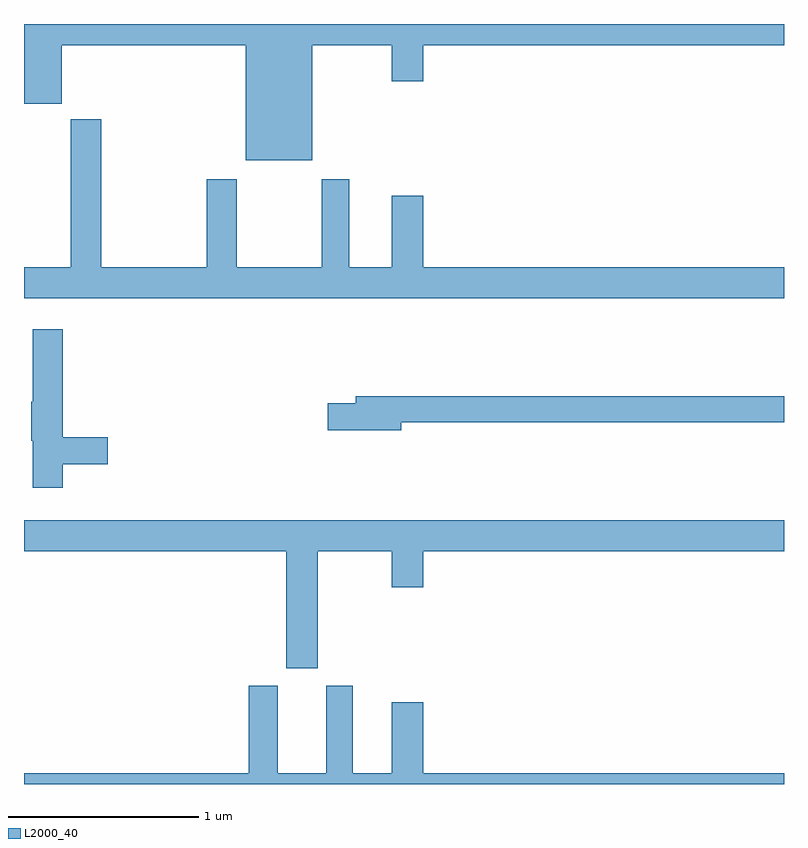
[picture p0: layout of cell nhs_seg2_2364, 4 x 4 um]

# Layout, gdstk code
import gdstk
lib = gdstk.Library(unit=1e-6, precision=1e-09)
def P(c, l, *ps):  # polygons
    for p in ps: c.add(gdstk.Polygon(p, *l))
L2000_40 = (2000, 40)

nhs_seg2_2364 = lib.new_cell('nhs_seg2_2364')
P(nhs_seg2_2364, L2000_40, [(236.518,595.688),(236.936,595.688),(236.936,595.5),(237.1,595.5),(237.1,595.688),(239,595.688),(239,595.8),(235,595.8),(235,595.379),(235.198,595.379),(235.198,595.688),(236.168,595.688),(236.168,595.082),(236.518,595.082)],
  [(239,594.52),(237.1,594.52),(237.1,594.895),(236.936,594.895),(236.936,594.52),(236.713,594.52),(236.713,594.982),(236.566,594.982),(236.566,594.52),(236.121,594.52),(236.121,594.982),(235.961,594.982),(235.961,594.52),(235.406,594.52),(235.406,595.3),(235.246,595.3),(235.246,594.52),(235,594.52),(235,594.356),(239,594.356)],
  [(235.205,593.482),(235.441,593.482),(235.441,593.624),(235.205,593.624),(235.205,594.193),(235.046,594.193),(235.046,593.813),(235.039,593.813),(235.039,593.607),(235.046,593.607),(235.046,593.358),(235.205,593.358)],
  [(236.986,593.704),(239,593.704),(239,593.84),(236.747,593.84),(236.747,593.804),(236.598,593.804),(236.598,593.662),(236.986,593.662)],
  [(236.545,593.024),(236.936,593.024),(236.936,592.836),(237.1,592.836),(237.1,593.024),(239,593.024),(239,593.188),(235,593.188),(235,593.024),(236.381,593.024),(236.381,592.41),(236.545,592.41)],
  [(239,591.856),(237.1,591.856),(237.1,592.231),(236.936,592.231),(236.936,591.856),(236.731,591.856),(236.731,592.318),(236.591,592.318),(236.591,591.856),(236.335,591.856),(236.335,592.318),(236.183,592.318),(236.183,591.856),(235,591.856),(235,591.8),(239,591.8)])

lib.write_gds('nhs_seg2_2364.gds')
